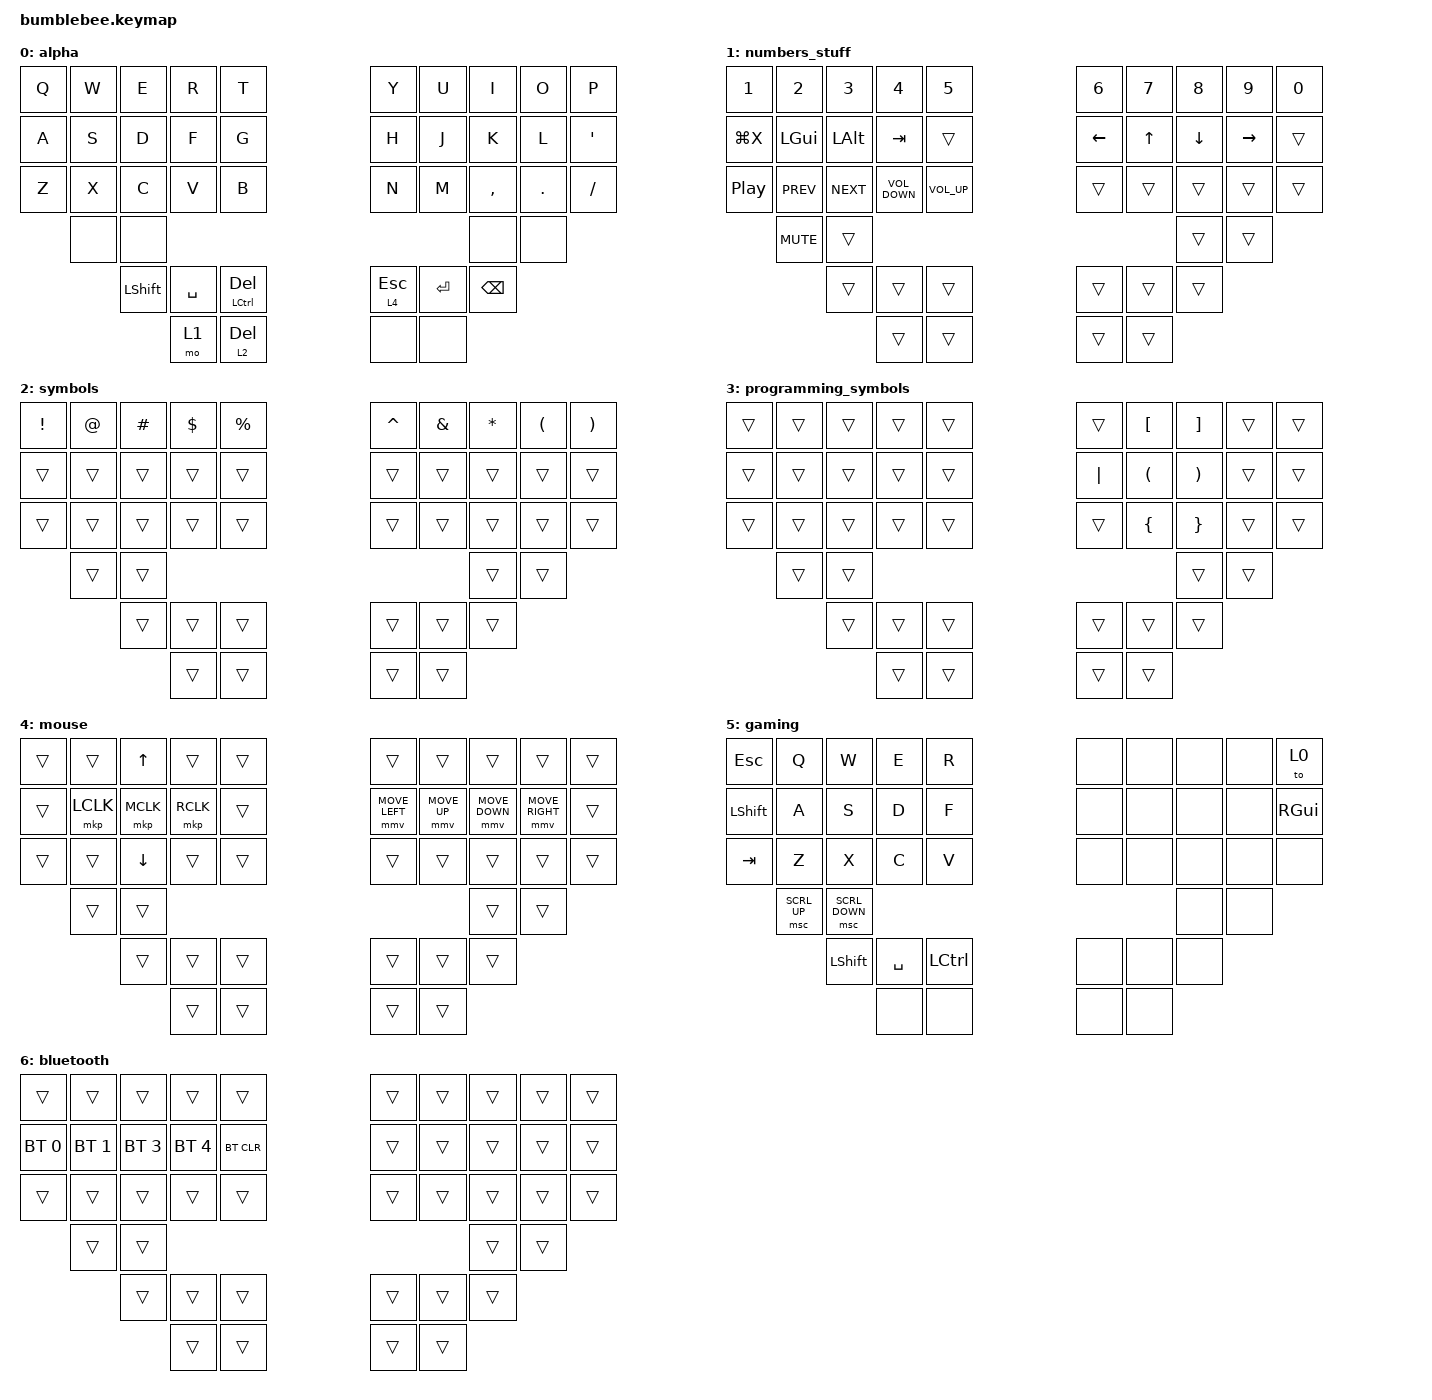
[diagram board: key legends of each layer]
#include <behaviors/mouse_keys.dtsi>
#include <dt-bindings/zmk/mouse.h>
#include <behaviors.dtsi>
#include <dt-bindings/zmk/bt.h>
#include <dt-bindings/zmk/keys.h>
#include <dt-bindings/zmk/pointing.h>

#define ZMK_POINTING_DEFAULT_MOVE_VAL 1650  // default is 600

&mmv {
    acceleration-exponent = <1>;
    delay-ms = <0>;
    time-to-max-speed-ms = <500>;
};

/ {
    behaviors {
        mouse_mode: mouse_mode {
            compatible = "zmk,behavior-hold-tap";
            label = "MOUSE_MODE";
            bindings = <&mo>, <&kp>;

            #binding-cells = <2>;
            tapping-term-ms = <125>;
            flavor = "tap-preferred";
            quick-tap-ms = <75>;
        };

        holding_tapping: holding_tapping {
            compatible = "zmk,behavior-hold-tap";
            label = "HOLDING_TAPPING";
            bindings = <&kp>, <&kp>;

            #binding-cells = <2>;
            tapping-term-ms = <125>;
            quick-tap-ms = <75>;
            flavor = "tap-preferred";
        };
    };

    combos {
        compatible = "zmk,combos";

        dash_moment {
            bindings = <&kp MINUS>;
            key-positions = <18 19>;
            layers = <0>;
        };

        tab_moment {
            bindings = <&kp TAB>;
            key-positions = <10 11 12>;
            layers = <0>;
        };

        semicolon {
            bindings = <&kp SEMICOLON>;
            key-positions = <29 19>;
            layers = <0>;
        };

        tilde_moment {
            bindings = <&kp GRAVE>;
            key-positions = <21 20>;
            layers = <0>;
        };

        ctrl_tab {
            bindings = <&kp LC(TAB)>;
            key-positions = <10 20>;
            layers = <0>;
        };

        zero_and_plus {
            bindings = <&kp EQUAL>;
            key-positions = <8 9>;
            layers = <1>;
        };

        bluetooth {
            bindings = <&mo 6>;
            key-positions = <37 38 39>;
        };

        num_moment {
            bindings = <&mo 1>;
            key-positions = <34 35>;
            layers = <0>;
        };

        symbols_moment {
            bindings = <&mo 2>;
            key-positions = <35 36>;
            layers = <0>;
        };
    };

    keymap {
        compatible = "zmk,keymap";

        alpha {
            bindings = <
&kp Q  &kp W  &kp E       &kp R      &kp T                          &kp Y              &kp U      &kp I      &kp O    &kp P
&kp A  &kp S  &kp D       &kp F      &kp G                          &kp H              &kp J      &kp K      &kp L    &kp SQT
&kp Z  &kp X  &kp C       &kp V      &kp B                          &kp N              &kp M      &kp COMMA  &kp DOT  &kp FSLH
       &none  &none                                                                               &none      &none
              &kp LSHIFT  &kp SPACE  &holding_tapping LCTRL DELETE  &mouse_mode 4 ESC  &kp ENTER  &kp BSPC
                          &mo 1      &mouse_mode 2 DELETE           &none              &none
            >;
        };

        numbers_stuff {
            bindings = <
&kp N1     &kp N2        &kp N3        &kp N4             &kp N5           &kp N6    &kp N7        &kp N8    &kp N9     &kp N0
&kp LG(X)  &kp LEFT_GUI  &kp LEFT_ALT  &kp TAB            &trans           &kp LEFT  &kp UP_ARROW  &kp DOWN  &kp RIGHT  &trans
&kp C_PP   &kp C_PREV    &kp C_NEXT    &kp C_VOLUME_DOWN  &kp C_VOLUME_UP  &trans    &trans        &trans    &trans     &trans
           &kp C_MUTE    &trans                                                                    &trans    &trans
                         &trans        &trans             &trans           &trans    &trans        &trans
                                       &trans             &trans           &trans    &trans
            >;
        };

        symbols {
            bindings = <
&kp EXCLAMATION  &kp AT_SIGN  &kp HASH  &kp DOLLAR  &kp PERCENT  &kp CARET  &kp AMPERSAND  &kp ASTERISK  &kp LEFT_PARENTHESIS  &kp RIGHT_PARENTHESIS
&trans           &trans       &trans    &trans      &trans       &trans     &trans         &trans        &trans                &trans
&trans           &trans       &trans    &trans      &trans       &trans     &trans         &trans        &trans                &trans
                 &trans       &trans                                                       &trans        &trans
                              &trans    &trans      &trans       &trans     &trans         &trans
                                        &trans      &trans       &trans     &trans
            >;
        };

        programming_symbols {
            bindings = <
&trans  &trans  &trans  &trans  &trans  &trans    &kp LEFT_BRACKET      &kp RIGHT_BRACKET      &trans  &trans
&trans  &trans  &trans  &trans  &trans  &kp PIPE  &kp LEFT_PARENTHESIS  &kp RIGHT_PARENTHESIS  &trans  &trans
&trans  &trans  &trans  &trans  &trans  &trans    &kp LEFT_BRACE        &kp RIGHT_BRACE        &trans  &trans
        &trans  &trans                                                  &trans                 &trans
                &trans  &trans  &trans  &trans    &trans                &trans
                        &trans  &trans  &trans    &trans
            >;
        };

        mouse {
            bindings = <
&trans  &trans     &kp UP_ARROW  &trans     &trans  &trans          &trans        &trans          &trans           &trans
&trans  &mkp LCLK  &mkp MCLK     &mkp RCLK  &trans  &mmv MOVE_LEFT  &mmv MOVE_UP  &mmv MOVE_DOWN  &mmv MOVE_RIGHT  &trans
&trans  &trans     &kp DOWN      &trans     &trans  &trans          &trans        &trans          &trans           &trans
        &trans     &trans                                                         &trans          &trans
                   &trans        &trans     &trans  &trans          &trans        &trans
                                 &trans     &trans  &trans          &trans
            >;
        };

        gaming {
            bindings = <
&kp ESC    &kp Q         &kp W           &kp E      &kp R      &none  &none  &none  &none  &to 0
&kp LSHFT  &kp A         &kp S           &kp D      &kp F      &none  &none  &none  &none  &kp RIGHT_GUI
&kp TAB    &kp Z         &kp X           &kp C      &kp V      &none  &none  &none  &none  &none
           &msc SCRL_UP  &msc SCRL_DOWN                                      &none  &none
                         &kp LSHFT       &kp SPACE  &kp LCTRL  &none  &none  &none
                                         &none      &none      &none  &none
            >;
        };

        bluetooth {
            bindings = <
&trans        &trans        &trans        &trans        &trans      &trans  &trans  &trans  &trans  &trans
&bt BT_SEL 0  &bt BT_SEL 1  &bt BT_SEL 3  &bt BT_SEL 4  &bt BT_CLR  &trans  &trans  &trans  &trans  &trans
&trans        &trans        &trans        &trans        &trans      &trans  &trans  &trans  &trans  &trans
              &trans        &trans                                                  &trans  &trans
                            &trans        &trans        &trans      &trans  &trans  &trans
                                          &trans        &trans      &trans  &trans
            >;
        };
    };
};
